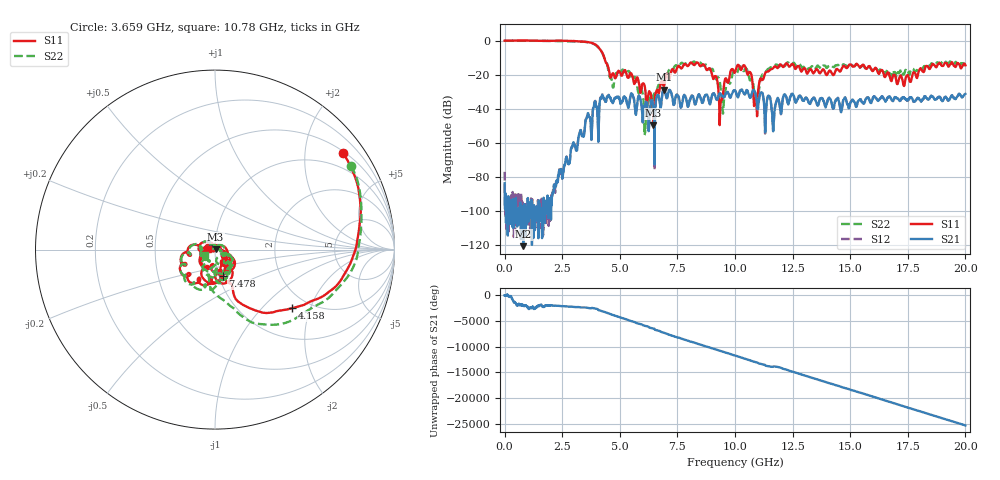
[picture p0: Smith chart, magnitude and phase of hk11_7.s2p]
#  HZ  S  RI  R  50.00
! Rohde & Schwarz Vector Network Analyzer
! Rohde-Schwarz,ZNB20-2Port,1311601062102128,3.60
! Created: UTC 4/29/2024, 3:47:16 PM
! freq[Hz]  re:S11  im:S11  re:S21  im:S21  re:S12  im:S12  re:S22  im:S22
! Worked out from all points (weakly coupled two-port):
!   2007 points, 100 kHz to 20 GHz, reference 50 ohm
!   highest |S21| = -28.71 dB at 6.919 GHz (marker M1); lowest = -120.5 dB at 807.7 MHz (marker M2)
!   lowest |S11| = -49.5 dB at 6.461 GHz (marker M3), VSWR 1.01, Z = 50.3 + j0.158 ohm
!   |S11| at or under -10 dB: 4.326 GHz to end of sweep
!   |S22| runs from -55.6 to 0.1 dB; largest |S21 - S12| = 0.002
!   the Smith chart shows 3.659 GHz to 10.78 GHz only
!   S11 on the Smith chart (normalised r, x): 3.659 GHz: 0.54, +2.90; 4.158 GHz: 1.64, -1.51; 7.478 GHz: 1.04, -0.31; 10.78 GHz: 0.92, +0.00
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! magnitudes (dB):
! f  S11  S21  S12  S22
! 100 kHz  0.0  -83.6  -76.9  0.1
! 807.7 MHz  0.1  -120.5  -100.1  0.0
! 2.243 GHz  0.0  -84.0  -83.2  -0.3
! 3.34 GHz  -0.6  -55.2  -54.8  -0.6
! 3.659 GHz  -1.0  -44.5  -44.5  -1.0
! 4.158 GHz  -5.4  -33.9  -33.4  -5.1
! 4.656 GHz  -20.1  -35.1  -35.3  -23.7
! 5.643 GHz  -25.0  -37.4  -37.3  -21.4
! 6.112 GHz  -29.7  -37.4  -37.4  -51.0
! 6.461 GHz  -49.5  -39.9  -39.8  -31.9
! 6.67 GHz  -30.1  -32.0  -32.0  -26.2
! 6.919 GHz  -26.6  -28.7  -28.8  -20.1
! 7.478 GHz  -16.3  -31.6  -31.5  -14.8
! 8.893 GHz  -16.2  -36.4  -36.5  -17.0
! 9.382 GHz  -35.8  -31.5  -31.5  -28.6
! 10 GHz  -18.6  -29.3  -29.3  -17.7
! 10.78 GHz  -27.6  -29.1  -29.1  -24.0
! 10.91 GHz  -34.5  -32.3  -32.2  -33.7
! 11.67 GHz  -15.9  -51.5  -51.3  -15.4
! 13.34 GHz  -17.9  -34.5  -34.5  -14.9
! 16.67 GHz  -19.1  -32.9  -32.9  -18.9
! 20 GHz  -14.5  -31.2  -31.2  -15.2
